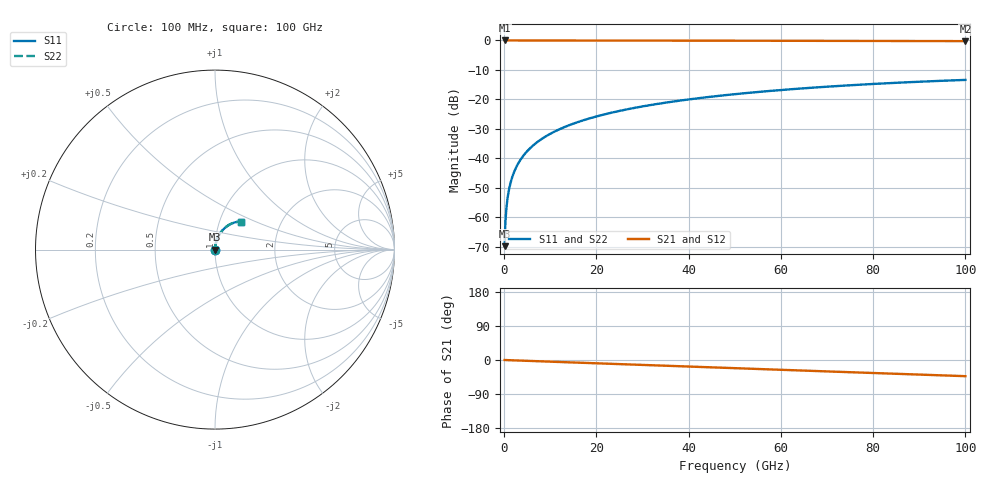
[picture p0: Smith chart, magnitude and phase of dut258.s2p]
! Touchstone file exported from HFSS 2026.1.0
!  File:  C:/ffzhzh/LocalFiles/Ansys_Project_Files/temp_train_TSV_258_1783508466_44152.aedt
!  Generated:  07:02:15 PM Jul  8, 2026
!  Design:  TSV
!  Project:  temp_train_TSV_258_1783508466_44152
! Variables:
!  h_bsmrdl = 2um
!  h_ox = 20um
!  h_rdl = 5um
!  h_sub = 76.67um
!  h_tmrdl = 5um
!  h_tsv = 76.67um
!  h_via = 3um
!  l_bsmrdl = 300um
!  l_sub = 418.88um
!  l_tmrdl = 200um
!  m_sub = 200um
!  pitch = 59.13um
!  r_tsv = 9.44um
!  s_tmrdl = 10um
!  w_bsmrdl = 18um
!  w_sub = 500um
!  w_tmrdl = 12um
!  x_tsv_center1 = 206um
!  x_tsv_center2 = 524um
!  x_tsv_center3 = 736um
!  x_tsv_center4 = 1054um
!  x_tsv_center5 = 1266um
!  x_tsv_center6 = 1584um
# GHz S MA R 50.000000
! Terminal data exported
! Port[1] = TSV1_1_T1
! Port[2] = TSV1_1_T2
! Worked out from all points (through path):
!   1000 points, 100 MHz to 100 GHz, reference 50 ohm
!   highest |S21| = 0.00 dB at 100 MHz (marker M1); lowest = -0.2 dB at 100 GHz (marker M2)
!   group delay of S21, straight-line fit = 1.19 ps
!   lowest |S11| = -69.8 dB at 100 MHz (marker M3), VSWR 1.00, Z = 50 + j0.0297 ohm
!   |S11| at or under -10 dB: start of sweep to end of sweep
!   |S22| runs from -69.8 to -13.4 dB; largest |S21 - S12| = 1.1e-14
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0.1  0.0003246 66.2  0.9999 -0.0  0.9999 -0.0  0.0003246 66.2
! Gamma 0 0 0 0
! Port Impedance 50 0 50 0
0.3  0.0008947 79.7  0.9998 -0.1  0.9998 -0.1  0.0008947 79.7
0.7  0.002005 83.1  0.9998 -0.3  0.9998 -0.3  0.002005 83.1
0.8  0.002276 83.4  0.9998 -0.4  0.9998 -0.4  0.002276 83.4
1  0.002812 83.9  0.9997 -0.4  0.9997 -0.4  0.002812 83.9
1.3  0.003611 84.4  0.9997 -0.6  0.9997 -0.6  0.003611 84.4
1.7  0.004671 84.9  0.9996 -0.8  0.9996 -0.8  0.004671 84.9
2.3  0.006252 85.2  0.9996 -1.0  0.9996 -1.0  0.006252 85.2
3  0.008083 85.3  0.9995 -1.3  0.9995 -1.3  0.008083 85.3
3.8  0.01016 85.3  0.9994 -1.7  0.9994 -1.7  0.01016 85.3
4.8  0.01275 85.2  0.9993 -2.1  0.9993 -2.1  0.01275 85.2
6  0.01585 84.9  0.9992 -2.6  0.9992 -2.6  0.01585 84.9
8.8  0.02305 84.1  0.9989 -3.9  0.9989 -3.9  0.02305 84.1
12.4  0.03224 82.8  0.9985 -5.4  0.9985 -5.4  0.03224 82.8
16.8  0.04338 81.2  0.9979 -7.3  0.9979 -7.3  0.04338 81.2
24.2  0.06186 78.2  0.9967 -10.5  0.9967 -10.5  0.06186 78.2
33.4  0.0843 74.4  0.9948 -14.5  0.9948 -14.5  0.0843 74.4
41.2  0.1027 71.2  0.9929 -17.9  0.9929 -17.9  0.1027 71.2
50.1  0.123 67.5  0.9905 -21.7  0.9905 -21.7  0.123 67.5
66.7  0.1579 60.5  0.9852 -28.7  0.9852 -28.7  0.1579 60.5
83.4  0.1888 53.6  0.9795 -35.7  0.9795 -35.7  0.1888 53.6
100  0.2143 46.8  0.9739 -42.7  0.9739 -42.7  0.2143 46.8
